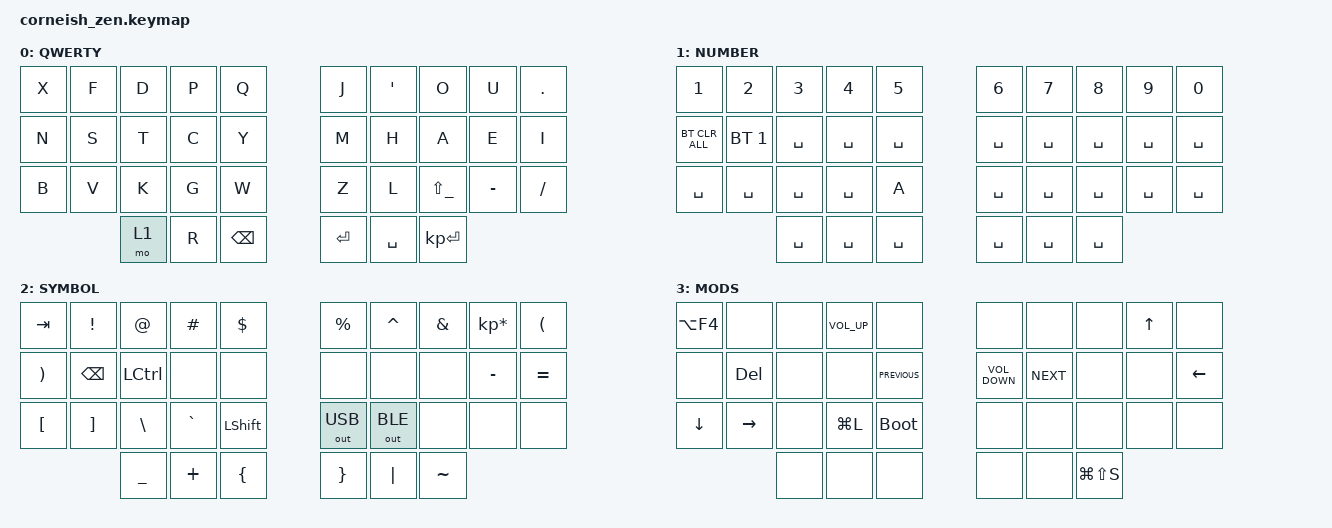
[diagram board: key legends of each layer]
/*
*
* Copyright (c) 2021 Darryl deHaan
* SPDX-License-Identifier: MIT
*
*/

#include <behaviors.dtsi>
#include <dt-bindings/zmk/bt.h>
#include <dt-bindings/zmk/keys.h>
#include <dt-bindings/zmk/outputs.h>

/ {
    chosen {
        // zmk,matrix_transform = &default_transform;

        zmk,matrix_transform = &five_column_transform;
    };
};

/ {
    keymap {
        compatible = "zmk,keymap";

        default_layer {
            display-name = "QWERTY";

            // --------------------------------------------------------------------------------
            // |  TAB |  Q  |  W  |  E  |  R  |  T  |   |  Y  |  U   |  I  |  O  |  P  | BKSP |
            // | CTRL |  A  |  S  |  D  |  F  |  G  |   |  H  |  J   |  K  |  L  |  ;  |  '   |
            // | SHFT |  Z  |  X  |  C  |  V  |  B  |   |  N  |  M   |  ,  |  .  |  /  | ESC  |
            //                    | GUI | LWR | SPC |   | ENT | RSE  | ALT |

            bindings = <
  &kp X  &kp F  &kp D  &kp P  &kp Q       &kp J    &kp SQT    &kp O          &kp U      &kp DOT
  &kp N  &kp S  &kp T  &kp C  &kp Y       &kp M    &kp H      &kp A          &kp E      &kp I
  &kp B  &kp V  &kp K  &kp G  &kp W       &kp Z    &kp L      &kp LS(UNDER)  &kp MINUS  &kp FSLH
                &mo 1  &kp R  &kp BSPC    &kp RET  &kp SPACE  &kp KP_ENTER
            >;
        };

        lower_layer {
            display-name = "NUMBER";

            // -----------------------------------------------------------------------------------------
            // |  TAB |  1  |  2  |  3  |  4  |  5  |   |  6  |  7  |  8  |  9  |  0  | BKSP |
            // | BTCLR| BT1 | BT2 | BT3 | BT4 |SD_UL|   | LFT | DWN |  UP | RGT |     |      |
            // | SHFT |     |     |     |     |     |   |     |     |     |     |     |      |
            //                    | GUI |     | SPC |   | ENT |     | ALT |

            bindings = <
  &kp N1          &kp N2        &kp N3     &kp N4     &kp N5       &kp N6     &kp N7     &kp N8     &kp N9     &kp N0
  &bt BT_CLR_ALL  &bt BT_SEL 1  &kp SPACE  &kp SPACE  &kp SPACE    &kp SPACE  &kp SPACE  &kp SPACE  &kp SPACE  &kp SPACE
  &kp SPACE       &kp SPACE     &kp SPACE  &kp SPACE  &kp A        &kp SPACE  &kp SPACE  &kp SPACE  &kp SPACE  &kp SPACE
                                &kp SPACE  &kp SPACE  &kp SPACE    &kp SPACE  &kp SPACE  &kp SPACE
            >;
        };

        raise_layer {
            display-name = "SYMBOL";

            // -----------------------------------------------------------------------------------------
            // |  TAB |  !  |  @  |  #  |  $  |  %  |   |  ^  |  &  |  *  |  (  |  )  | BKSP |
            // | CTRL |SD_UL|     |     |     |     |   |  -  |  =  |  [  |  ]  |  \  |  `   |
            // | SHFT |     |     |     |     |     |   |  _  |  +  |  {  |  }  | "|" |  ~   |
            //                    | GUI |     | SPC |   | ENT |     | ALT |

            bindings = <
  &kp TAB   &kp EXCL  &kp AT     &kp HASH   &kp DLLR     &kp PRCNT     &kp CARET     &kp AMPS   &kp KP_MULTIPLY  &kp LPAR
  &kp RPAR  &kp BSPC  &kp LCTRL  &none      &none        &none         &none         &none      &kp MINUS        &kp EQUAL
  &kp LBKT  &kp RBKT  &kp BSLH   &kp GRAVE  &kp LSHFT    &out OUT_USB  &out OUT_BLE  &none      &none            &none
                      &kp UNDER  &kp PLUS   &kp LBRC     &kp RBRC      &kp PIPE      &kp TILDE
            >;
        };

        Mods {
            bindings = <
  &kp LA(F4)      &none            &none  &kp C_VOLUME_UP  &none             &none              &none       &none          &kp UP_ARROW  &none
  &none           &kp DELETE       &none  &none            &kp C_PREVIOUS    &kp C_VOLUME_DOWN  &kp C_NEXT  &none          &none         &kp LEFT_ARROW
  &kp DOWN_ARROW  &kp RIGHT_ARROW  &none  &kp LG(L)        &bootloader       &none              &none       &none          &none         &none
                                   &none  &none            &none             &none              &none       &kp LG(LS(S))
            >;

            label = "MODS";
        };
    };
};
